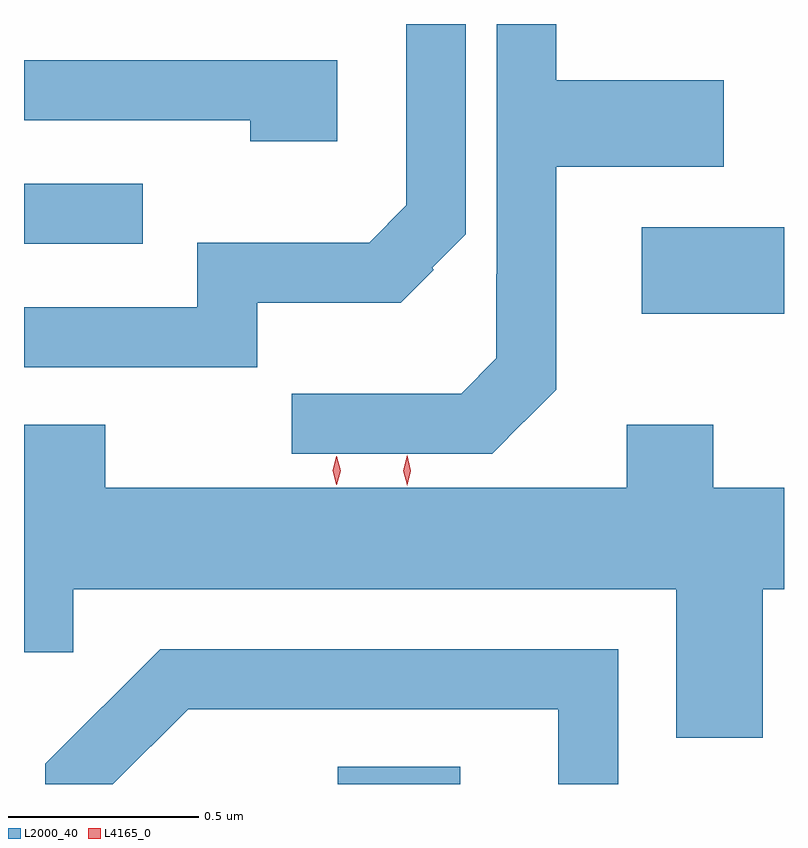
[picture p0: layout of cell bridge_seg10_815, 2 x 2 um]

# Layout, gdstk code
import gdstk
lib = gdstk.Library(unit=1e-6, precision=1e-09)
def R(c, l, rs):  # rectangles x0, y0, x1, y1
    for r in rs: c.add(gdstk.rectangle(r[:2], r[2:], *l))
def P(c, l, *ps):  # polygons
    for p in ps: c.add(gdstk.Polygon(p, *l))
L2000_40 = (2000, 40)
L4165_0 = (4165, 0)

bridge_seg10_815 = lib.new_cell('bridge_seg10_815')
R(bridge_seg10_815, L2000_40, [(602.761,2191.104,603.083,2191.149), (603.561,2192.341,603.935,2192.569), (601.935,2192.526,602.248,2192.684)])
P(bridge_seg10_815, L2000_40, [(602.549,2192.371),(602.927,2192.371),(603.013,2192.457),(603.009,2192.462),(603.098,2192.551),(603.098,2193.104),(602.941,2193.104),(602.941,2192.627),(602.844,2192.529),(602.391,2192.529),(602.391,2192.359),(601.935,2192.359),(601.935,2192.201),(602.549,2192.201)],
  [(603.252,2192.058),(603.252,2192.057),(603.336,2192.141),(603.336,2192.728),(603.776,2192.728),(603.776,2192.956),(603.336,2192.956),(603.336,2193.104),(603.179,2193.104),(603.179,2192.445),(603.178,2192.445),(603.178,2192.224),(603.086,2192.131),(602.64,2192.131),(602.64,2191.973),(603.167,2191.973)],
  [(602.759,2193.009),(601.935,2193.009),(601.935,2192.851),(602.531,2192.851),(602.531,2192.796),(602.759,2192.796)],
  [(603.879,2191.616),(603.935,2191.616),(603.935,2191.884),(603.749,2191.884),(603.749,2192.049),(603.521,2192.049),(603.521,2191.884),(602.149,2191.884),(602.149,2192.049),(601.935,2192.049),(601.935,2191.451),(602.064,2191.451),(602.064,2191.616),(603.651,2191.616),(603.651,2191.226),(603.879,2191.226)],
  [(602.367,2191.301),(603.341,2191.301),(603.341,2191.104),(603.499,2191.104),(603.499,2191.459),(602.294,2191.459),(601.991,2191.157),(601.991,2191.104),(602.169,2191.104)])
P(bridge_seg10_815, L4165_0, [(602.943,2191.889),(602.943,2191.89),(602.933,2191.929),(602.943,2191.969),(602.943,2191.969),(602.944,2191.969),(602.953,2191.929),(602.944,2191.89)],
  [(602.758,2191.891),(602.757,2191.892),(602.748,2191.929),(602.757,2191.966),(602.758,2191.966),(602.758,2191.966),(602.768,2191.929),(602.758,2191.892)])

lib.write_gds('bridge_seg10_815.gds')
